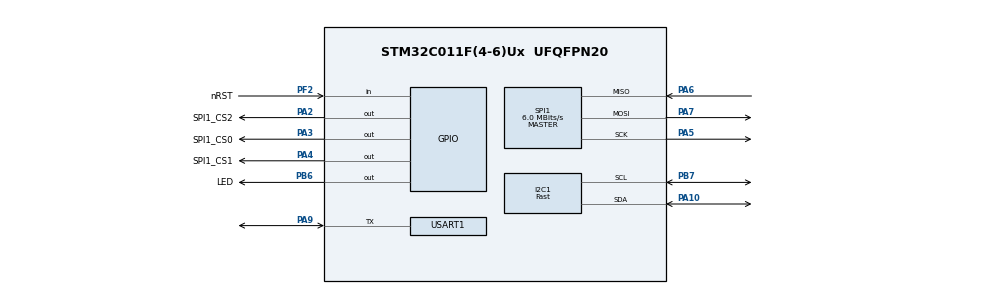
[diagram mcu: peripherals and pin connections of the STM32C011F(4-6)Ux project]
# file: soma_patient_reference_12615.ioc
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I2C1.I2C_Speed_Mode=I2C_Fast
I2C1.Timing=0x2010091A
Mcu.Family=STM32C0
Mcu.Name=STM32C011F(4-6)Ux
Mcu.Package=UFQFPN20
NVIC.SPI1_IRQn=true\:0\:0\:false\:false\:true\:true\:true\:true
NVIC.TIM17_IRQn=true\:0\:0\:false\:false\:true\:true\:true\:true
NVIC.TIM1_BRK_UP_TRG_COM_IRQn=true\:0\:0\:false\:false\:true\:true\:true\:true
NVIC.USART1_IRQn=true\:0\:0\:false\:false\:true\:true\:true\:true
PA10\ [PA12].GPIO_Pu=GPIO_PULLUP
PA10\ [PA12].Mode=I2C
PA10\ [PA12].Signal=I2C1_SDA
PA13.Mode=Serial_Wire
PA13.Signal=DEBUG_SWDIO
PA14-BOOT0.Mode=Serial_Wire
PA14-BOOT0.Signal=DEBUG_SWCLK
PA2.GPIO_Label=SPI1_CS2
PA2.GPIO_Speed=GPIO_SPEED_FREQ_VERY_HIGH
PA2.PinState=GPIO_PIN_SET
PA2.Signal=GPIO_Output
PA3.GPIO_Label=SPI1_CS0
PA3.GPIO_ModeDefaultOutputPP=GPIO_MODE_OUTPUT_PP
PA3.GPIO_PuPd=GPIO_NOPULL
PA3.GPIO_Speed=GPIO_SPEED_FREQ_VERY_HIGH
PA3.PinState=GPIO_PIN_SET
PA3.Signal=GPIO_Output
PA4.GPIO_Label=SPI1_CS1
PA4.GPIO_PuPd=GPIO_NOPULL
PA4.GPIO_Speed=GPIO_SPEED_FREQ_VERY_HIGH
PA4.PinState=GPIO_PIN_SET
PA4.Signal=GPIO_Output
PA5.GPIO_Speed=GPIO_SPEED_FREQ_VERY_HIGH
PA5.Mode=Full_Duplex_Master
PA5.Signal=SPI1_SCK
PA6.GPIO_Speed=GPIO_SPEED_FREQ_VERY_HIGH
PA6.Mode=Full_Duplex_Master
PA6.Signal=SPI1_MISO
PA7.GPIO_Speed=GPIO_SPEED_FREQ_VERY_HIGH
PA7.Mode=Full_Duplex_Master
PA7.Signal=SPI1_MOSI
PA9\ [PA11].GPIO_FMPA9=SYSCFG_FASTMODEPLUS_PA9
PA9\ [PA11].GPIO_PuPd=GPIO_NOPULL
PA9\ [PA11].GPIO_Speed=GPIO_SPEED_FREQ_HIGH
PA9\ [PA11].Mode=Half_duplex(single_wire_mode)
PA9\ [PA11].Signal=USART1_TX
PB6.GPIO_Label=LED
PB6.GPIO_Speed=GPIO_SPEED_FREQ_VERY_HIGH
PB6.PinState=GPIO_PIN_RESET
PB6.Signal=GPIO_Output
PB7.GPIO_Pu=GPIO_PULLUP
PB7.Mode=I2C
PB7.Signal=I2C1_SCL
PF2-NRST.GPIO_Label=nRST
PF2-NRST.Signal=GPIO_Input
ProjectManager.HeapSize=0x200
ProjectManager.StackSize=0x400
ProjectManager.TargetToolchain=MDK-ARM V5.32
RCC.ADCFreq_Value=48000000
RCC.AHBFreq_Value=48000000
RCC.CortexFreq_Value=48000000
RCC.EXTERNAL_CLOCK_VALUE=12288000
RCC.HCLKFreq_Value=48000000
RCC.HSE_VALUE=48000000
RCC.HSISYSCLKDivider=RCC_HSI_DIV1
RCC.HSI_VALUE=48000000
RCC.LSE_VALUE=32768
RCC.SYSCLKFreq_VALUE=48000000
SPI1.BaudRatePrescaler=SPI_BAUDRATEPRESCALER_8
SPI1.CalculateBaudRate=6.0 MBits/s
SPI1.Direction=SPI_DIRECTION_2LINES
SPI1.Mode=SPI_MODE_MASTER
SPI1.VirtualType=VM_MASTER
TIM1.Period=9
TIM1.Prescaler=4799
TIM17.Prescaler=47
USART1.BaudRate=1000000
USART1.VirtualMode-Half_duplex(single_wire_mode)=VM_ASYNC
VP_CRC_VS_CRC.Mode=CRC_Activate
VP_SYS_VS_PINREMAP.Mode=PINREMAP
VP_SYS_VS_PINREMAP_10_12.Mode=PINREMAP_10_12
VP_TIM17_VS_ClockSourceINT.Mode=Enable_Timer
VP_TIM1_VS_ClockSourceINT.Mode=Internal
board=STM32C0116-DK

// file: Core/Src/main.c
/* USER CODE BEGIN Header */
/**
  ******************************************************************************
  * @file           : main.c
  * @brief          : Main program body
  ******************************************************************************
  * @attention

  ******************************************************************************
  */
/* USER CODE END Header */
#include "main.h"
#include "crc.h"
#include "i2c.h"
#include "spi.h"
#include "tim.h"
#include "usart.h"
#include "gpio.h"

/* USER CODE BEGIN Includes */
#include <stdio.h>
#include "string.h"
#include "spi.h"

#include "stm32c0xx_hal_flash.h"

/* USER CODE END Includes */

/* USER CODE BEGIN PTD */

#define LOCALSLAVEADDR  1
uint8_t islaveaddrin=0;

uint8_t slavecmd[TXDATALEN]={0};

#define DATA_MMC0_POINT  5
#define DATA_MMC1_POINT  12
#define DATA_ICM0_POINT  19
#define DATA_TIME_POINT  31

uint32_t idataoff =0;
uint32_t irestlen =0;

#define PAGE_DATA_SIZE  256  //2048
uint32_t icrctempdata[PAGE_DATA_SIZE/4+1]={0};

uint8_t FLASHTEMPDATA[PAGE_DATA_SIZE]= {0};
uint32_t ialldatalen=0;
uint32_t istepdatalen=0;
uint8_t flg_haverest =0;

/* USER CODE END PTD */

/* USER CODE BEGIN PM */

uint32_t  immc0_ctrl_0=0;
uint32_t  immc1_ctrl_0=0;

//---MMC5983---

#define MMC5983_XOUT_REG            0x00
#define MMC5983_TOUT_REG            0x07
#define MMC5983_STATUS_REG          0x08
#define MMC5983_CONTROL0_REG        0x09
#define MMC5983_CONTROL1_REG        0x0A
#define MMC5983_CONTROL2_REG        0x0B
#define MMC5983_CONTROL3_REG        0x0C
#define MMC5983_PRODUCT_ID_REG      0x2F

#define MMC5983_PRODUCT_ID_RESULT   0x30

#define MMC5983_MYSTERY_REG 0x29
#define MMC5983_MYSTERY_TC_DISABLE 0x01
#define MMC5983_UNLOCK_REG 0x0F
#define MMC5983_UNLOCK_VAL 0xE1

//MEMSIC values
#define MMC5983_CONTROL0_MAG_MEAS   0x01
#define MMC5983_CONTROL0_TEMP_MEAS  0x02
#define MMC5983_CONTROL0_INT_EN     0x04
#define MMC5983_CONTROL0_SET        0x08
#define MMC5983_CONTROL0_RESET      0x10
#define MMC5983_CONTROL0_AUTOSREN   0x20   //add

#define MMC5983_CONTROL0_INIT       0x00
#define MMC5983_CONTROL0_START_TEMP_CMD  (MMC5983_CONTROL0_TEMP_MEAS | MMC5983_CONTROL0_RESET)
#define MMC5983_CONTROL0_START_CMD  (MMC5983_CONTROL0_MAG_MEAS)

#ifdef OMMO_SENSOR_MEMSIC_MMC5983_SET
  #define MMC5983_CONTROL0_SET_CMD    (MMC5983_CONTROL0_SET)
#else
  #define MMC5983_CONTROL0_SET_CMD    (MMC5983_CONTROL0_RESET) //RESET will invert the axis making them right handed
#endif

#define MMC5983_CONTROL1_CHIP_RESET 0x80
#define MMC5983_CONTROL1_BW_100     0x00
#define MMC5983_CONTROL1_BW_200     0x01
#define MMC5983_CONTROL1_BW_400     0x02
#define MMC5983_CONTROL1_BW_800     0x03
#define MMC5983_CONTROL1_INIT       MMC5983_CONTROL1_BW_8

#define MMC5983_CONTROL2_CM_FREQ_1000  0X07    //add
#define MMC5983_CONTROL2_CMM_EN        0X08    //add

//---ICM42605---
// Bank 0
#define ICM_DEVICE_ID                          0x42

#define ICM42605_DEVICE_CONFIG_REG             0x11
#define ICM42605_INT_CONFIG_REG                0x14
#define ICM42605_ACCEL_DATA_X1_REG             0x1F

#define ICM42605_INT_STATUS_REG                0x2D

#define ICM42605_PWR_MGMT0_REG                 0x4E
#define ICM42605_GYRO_CONFIG0_REG              0x4F
#define ICM42605_ACCEL_CONFIG0_REG             0x50
#define ICM42605_GYRO_CONFIG1_REG              0x51

#define ICM42605_INT_CONFIG1_REG               0x64
#define ICM42605_INT_SOURCE0_REG               0x65
#define ICM42605_WHO_AM_I_REG                  0x75

#define ICM42605_REG_BANK_SEL_REG              0x76

// Bank 4
#define ICM42605_APEX_CONFIG5_REG              0x44

/* USER CODE END PM */

/* USER CODE BEGIN PV */

//-------------flash-------------

#define ADDR_FLASH_PAGE_0     ((uint32_t)0x08000000) /* Base @ of Page 0, 2 Kbytes */
#define ADDR_FLASH_PAGE_1     ((uint32_t)0x08000800) /* Base @ of Page 1, 2 Kbytes */
#define ADDR_FLASH_PAGE_2     ((uint32_t)0x08001000) /* Base @ of Page 2, 2 Kbytes */
#define ADDR_FLASH_PAGE_3     ((uint32_t)0x08001800) /* Base @ of Page 3, 2 Kbytes */
#define ADDR_FLASH_PAGE_4     ((uint32_t)0x08002000) /* Base @ of Page 4, 2 Kbytes */
#define ADDR_FLASH_PAGE_5     ((uint32_t)0x08002800) /* Base @ of Page 5, 2 Kbytes */
#define ADDR_FLASH_PAGE_6     ((uint32_t)0x08003000) /* Base @ of Page 6, 2 Kbytes */
#define ADDR_FLASH_PAGE_7     ((uint32_t)0x08003800) /* Base @ of Page 7, 2 Kbytes */
#define ADDR_FLASH_PAGE_8     ((uint32_t)0x08004000) /* Base @ of Page 8, 2 Kbytes */
#define ADDR_FLASH_PAGE_9     ((uint32_t)0x08004800) /* Base @ of Page 9, 2 Kbytes */
#define ADDR_FLASH_PAGE_10    ((uint32_t)0x08005000) /* Base @ of Page 10, 2 Kbytes */
#define ADDR_FLASH_PAGE_11    ((uint32_t)0x08005800) /* Base @ of Page 11, 2 Kbytes */
#define ADDR_FLASH_PAGE_12    ((uint32_t)0x08006000) /* Base @ of Page 12, 2 Kbytes */
#define ADDR_FLASH_PAGE_13    ((uint32_t)0x08006800) /* Base @ of Page 13, 2 Kbytes */
#define ADDR_FLASH_PAGE_14    ((uint32_t)0x08007000) /* Base @ of Page 14, 2 Kbytes */
#define ADDR_FLASH_PAGE_15    ((uint32_t)0x08007800) /* Base @ of Page 15, 2 Kbytes */
#define ADDR_FLASH_PAGE_16    ((uint32_t)0x08008000)

//#define DATA_64                 ((uint64_t)0x12345678aa345678)

#define FLASH_BASE_ADDR          ((uint32_t)0x08000000)
#define FLASH_PAGESIZE           ((uint32_t)0x800)           //2K

#define FLASH_OFFSET_START_PAGE         6
#define FLASH_OFFSET_START_ADDR  ( (uint32_t)(FLASH_BASE_ADDR + FLASH_OFFSET_START_PAGE * FLASH_PAGESIZE) )  //3000

#define FLASH_BOOTFLAG_START_PAGE       14
#define FLASH_BOOTFLAG_START_ADDR  ( (uint32_t)(FLASH_BASE_ADDR + FLASH_BOOTFLAG_START_PAGE * FLASH_PAGESIZE) )  //7000

#define FLASH_EEPROM_START_PAGE         15
#define FLASH_EEPROM_START_ADDR    ( (uint32_t)(FLASH_BASE_ADDR + FLASH_EEPROM_START_PAGE * FLASH_PAGESIZE) )   //7800

#define MAX_EEPROMDATALEN   ( (16- FLASH_EEPROM_START_ADDR)*FLASH_PAGESIZE )   //1*0x800
#define MAX_BINFILEDATALEN   ( (FLASH_BOOTFLAG_START_PAGE- FLASH_OFFSET_START_PAGE)*FLASH_PAGESIZE )  //(14-6)*0x800

static FLASH_EraseInitTypeDef EraseInitStruct;
uint32_t iflashaddr = 0;
uint32_t PageError = 0;

#define DO_BOOTLOAD_FLG  0xaaaa5555

/* USER CODE END PV */

void SystemClock_Config(void);

/* USER CODE BEGIN 0 */

void delay_nop(uint32_t nCount)
{
   for(; nCount != 0; nCount--)
   {
      __NOP();
   }
}

void iputs1(char *msg)
{
   while(*msg)
   Send_Data_To_UART1(*msg++);
}

void iputbytes1(uint8_t *msg, uint32_t ilen)
{
   while(ilen--)
   Send_Data_To_UART1(*msg++);
}

void Send_Data_To_UART1 (uint8_t c)
{
   USART1->TDR = c;
   while( (USART1-> ISR & (1<<7) ) ==0 );
}

uint8_t get_checksum_8(uint8_t *ival, uint32_t inum)
{
   uint32_t i =0;
   uint8_t iret =0;
   uint16_t isum =0;

   for (i=0; i<inum; i++)
   {
      isum += ival[i];
   }

   iret = (uint8_t)(isum & 0xff);

   return iret;
}

uint8_t SPI_transfer(uint8_t data)
{
   // transmit
	LL_SPI_TransmitData8(MMC_SPI, data);
	while(!LL_SPI_IsActiveFlag_TXE(MMC_SPI));

   // receive
	while(!LL_SPI_IsActiveFlag_RXNE(MMC_SPI));
	return LL_SPI_ReceiveData8(MMC_SPI);

}

//---------------------mmc0 module---------------------------

uint8_t mmc0_read_byte(uint8_t addr)
{
   uint8_t value;

   LL_GPIO_ResetOutputPin((GPIO_TypeDef *)GPIOA, LL_GPIO_PIN_3);

   SPI_transfer(0x80|addr );
   value  = SPI_transfer(0x00);

   LL_GPIO_SetOutputPin((GPIO_TypeDef *)GPIOA, LL_GPIO_PIN_3);

   return value;
}

void mmc0_write_byte(uint8_t addr,  uint8_t value)
{

   LL_GPIO_ResetOutputPin((GPIO_TypeDef *)GPIOA, LL_GPIO_PIN_3);

   SPI_transfer(addr);
   SPI_transfer(value);

   LL_GPIO_SetOutputPin((GPIO_TypeDef *)GPIOA, LL_GPIO_PIN_3);

}

void mmc0_read_bytes(uint8_t addr ,uint8_t length ,uint8_t *buffer)
{
   for(int index = 0; index < length; index++)
   {
       buffer[index]  = mmc0_read_byte(addr+index);
   }

}

void mmc0_readfromspi( uint8_t iaddr, uint8_t ilen, uint8_t *idata)
{

   LL_GPIO_ResetOutputPin((GPIO_TypeDef *)GPIOA, LL_GPIO_PIN_3);

   SPI_transfer(0x80 |iaddr);

   while(ilen--)
   {
       *idata  = SPI_transfer(0x00);
       idata++;
   }

   LL_GPIO_SetOutputPin((GPIO_TypeDef *)GPIOA, LL_GPIO_PIN_3);

}

void mmc0_init(void)
{
   uint8_t ivalue=0;

   //check device id
   ivalue = mmc0_read_byte(MMC5983_PRODUCT_ID_REG);  //read id
   if(ivalue == MMC5983_PRODUCT_ID_RESULT)  //device id
   {
      //iputs1("mmc0 ok");
      //flg_mmc0_ready=1;

////      //unfrozen test
////      mmc0_write_byte(MMC5983_CONTROL0_REG,MMC5983_CONTROL0_AUTOSREN|MMC5983_CONTROL0_INT_EN);      //auto ser/reset, enable interrupt
////      mmc0_write_byte(MMC5983_CONTROL2_REG,MMC5983_CONTROL2_CM_FREQ_1000| MMC5983_CONTROL2_CMM_EN); //1000Hz, continuous mode
////      LL_mDelay(1);
////      mmc0_write_byte(MMC5983_CONTROL0_REG,MMC5983_CONTROL0_INIT);   //0
////      immc0_ctrl_0=MMC5983_CONTROL0_INIT;
////      mmc0_write_byte(MMC5983_CONTROL2_REG, 0x00);

      //reset
      mmc0_write_byte(MMC5983_CONTROL1_REG,MMC5983_CONTROL1_CHIP_RESET);  //reset
      LL_mDelay(20);

      //set control 0
      mmc0_write_byte(MMC5983_CONTROL0_REG,MMC5983_CONTROL0_INIT);   //0
      immc0_ctrl_0=MMC5983_CONTROL0_INIT;

      //set control 1
      mmc0_write_byte(MMC5983_CONTROL1_REG,MMC5983_CONTROL1_BW_800);    //800Hz

   }
   else
   {
       //flg_mmc0_ready=0;
       //iputs1("mmc0 err");
   }

}

void mmc0_read_data(uint8_t *sdata, uint8_t ilen)
{
   static uint32_t ireadcount = 0;

   //start sample
   //mmc0_write_byte(MMC5983_CONTROL0_REG, immc0_ctrl_0 & 0x7f);
   //mmc0_write_byte(MMC5983_CONTROL0_REG, MMC5983_CONTROL0_MAG_MEAS);    //sample

   //read data
   mmc0_readfromspi(MMC5983_XOUT_REG, ilen, sdata);

   //set/reset + Temp command
   if (ireadcount>=1000)
   {
      ireadcount =0;

      mmc0_write_byte(MMC5983_CONTROL0_REG, immc0_ctrl_0 & 0x7f);
      mmc0_write_byte(MMC5983_CONTROL0_REG, MMC5983_CONTROL0_TEMP_MEAS | MMC5983_CONTROL0_RESET );
      mmc0_write_byte(MMC5983_CONTROL1_REG, MMC5983_CONTROL1_BW_800);    //800Hz

   }
}

//---------------------mmc0 module----end-----------------------

//---------------------mmc1 module---------------------------

uint8_t mmc1_read_byte(uint8_t addr)
{
   uint8_t value;

   LL_GPIO_ResetOutputPin((GPIO_TypeDef *)GPIOA, LL_GPIO_PIN_4);

   SPI_transfer(0x80|addr );
   value  = SPI_transfer(0x00);

   LL_GPIO_SetOutputPin((GPIO_TypeDef *)GPIOA, LL_GPIO_PIN_4);

   return value;
}

void mmc1_write_byte(uint8_t addr,  uint8_t value)
{
   LL_GPIO_ResetOutputPin((GPIO_TypeDef *)GPIOA, LL_GPIO_PIN_4);

   SPI_transfer(addr);
   SPI_transfer(value);

   LL_GPIO_SetOutputPin((GPIO_TypeDef *)GPIOA, LL_GPIO_PIN_4);
}

void mmc1_read_bytes(uint8_t addr ,uint8_t length ,uint8_t *buffer)
{
   //read data
   for(int index = 0; index < length; index++)
   {
      buffer[index]  = mmc1_read_byte(addr+index);
   }

}

void mmc1_readfromspi( uint8_t iaddr, uint8_t ilen, uint8_t *idata)
{
   LL_GPIO_ResetOutputPin((GPIO_TypeDef *)GPIOA, LL_GPIO_PIN_4);

   SPI_transfer(0x80 |iaddr);

   while(ilen--)
   {
      *idata  = SPI_transfer(0x00);
      idata++;
   }

   LL_GPIO_SetOutputPin((GPIO_TypeDef *)GPIOA, LL_GPIO_PIN_4);
}

void mmc1_init(void)
{
   uint8_t ivalue=0;

   //check device id
   ivalue = mmc1_read_byte(MMC5983_PRODUCT_ID_REG);  //read id
   if(ivalue == MMC5983_PRODUCT_ID_RESULT)  //device id
   {
      //iputs1("mmc1 ok");
      //flg_mmc1_ready=1;

////      //unfrozen  test
////      mmc1_write_byte(MMC5983_CONTROL0_REG,MMC5983_CONTROL0_AUTOSREN|MMC5983_CONTROL0_INT_EN);      //auto ser/reset, enable interrupt
////      mmc1_write_byte(MMC5983_CONTROL2_REG,MMC5983_CONTROL2_CM_FREQ_1000| MMC5983_CONTROL2_CMM_EN); //1000Hz, continuous mode
////      LL_mDelay(1);
////      mmc1_write_byte(MMC5983_CONTROL0_REG,MMC5983_CONTROL0_INIT);   //0
////      immc1_ctrl_0=MMC5983_CONTROL0_INIT;
////      mmc1_write_byte(MMC5983_CONTROL2_REG,0x00);

      //reset
      mmc1_write_byte(MMC5983_CONTROL1_REG,MMC5983_CONTROL1_CHIP_RESET);  //reset
      LL_mDelay(20);

      //set control 0
      mmc1_write_byte(MMC5983_CONTROL0_REG,MMC5983_CONTROL0_INIT);   //0
      immc1_ctrl_0	= MMC5983_CONTROL0_INIT;

      //set control 1
      mmc1_write_byte(MMC5983_CONTROL1_REG,MMC5983_CONTROL1_BW_800);    //800Hz

   }
   else
   {
      //flg_mmc1_ready=0;
      //iputs1("mmc1 err");
   }

}

void mmc1_read_data(uint8_t *sdata, uint8_t ilen)
{
   static uint32_t ireadcount = 0;

   //start sample
   //mmc1_write_byte(MMC5983_CONTROL0_REG, immc1_ctrl_0 & 0x7f);
   //mmc1_write_byte(MMC5983_CONTROL0_REG, MMC5983_CONTROL0_MAG_MEAS);    //sample

   //read data
   mmc1_readfromspi(MMC5983_XOUT_REG, ilen, sdata);

   //set/reset + Temp command
   if (ireadcount>=1000)
   {
      ireadcount =0;
      mmc1_write_byte(MMC5983_CONTROL0_REG, immc1_ctrl_0 & 0x7f);
      mmc1_write_byte(MMC5983_CONTROL0_REG, MMC5983_CONTROL0_TEMP_MEAS | MMC5983_CONTROL0_RESET );
      mmc1_write_byte(MMC5983_CONTROL1_REG, MMC5983_CONTROL1_BW_800);    //800Hz
   }

}

//---------------------mmc1 module----end-----------------------

//---------------------icm0 module---------------------------

uint8_t icm0_read_byte(uint8_t addr)
{
   uint8_t value;

   LL_GPIO_ResetOutputPin((GPIO_TypeDef *)GPIOA, LL_GPIO_PIN_2);

   SPI_transfer(0x80|addr );
   value  = SPI_transfer(0x00);

   LL_GPIO_SetOutputPin((GPIO_TypeDef *)GPIOA, LL_GPIO_PIN_2);

   return value;
}

void icm0_write_byte(uint8_t addr,  uint8_t value)
{
   LL_GPIO_ResetOutputPin((GPIO_TypeDef *)GPIOA, LL_GPIO_PIN_2);

   SPI_transfer(addr);
   SPI_transfer(value);

   LL_GPIO_SetOutputPin((GPIO_TypeDef *)GPIOA, LL_GPIO_PIN_2);
}

void icm0_read_bytes(uint8_t addr ,uint8_t length ,uint8_t *buffer)
{
   //read data
   for(int index = 0; index < length; index++)
   {
      buffer[index]  = icm0_read_byte(addr+index);
   }

}

void icm0_readfromspi( uint8_t iaddr, uint8_t ilen, uint8_t *idata)
{
   LL_GPIO_ResetOutputPin((GPIO_TypeDef *)GPIOA, LL_GPIO_PIN_2);

   SPI_transfer(0x80 |iaddr);

   while(ilen--)
   {
      *idata  = SPI_transfer(0x00);
      idata++;
   }

   LL_GPIO_SetOutputPin((GPIO_TypeDef *)GPIOA, LL_GPIO_PIN_2);
}

void icm0_init(void)
{
   uint8_t ivalue=0;

   icm0_write_byte( ICM42605_REG_BANK_SEL_REG, 0x00);    // set bank0

   //check device id
   ivalue =icm0_read_byte(ICM42605_WHO_AM_I_REG);     //read device id
   if(ivalue == ICM_DEVICE_ID)
   {
      //flg_icm0_ready=1;
      //iputs1("icm0 ok");

      icm0_write_byte(ICM42605_DEVICE_CONFIG_REG, 0x01 );     //reset
      LL_mDelay(100);

      icm0_write_byte(ICM42605_PWR_MGMT0_REG, 0x0f);     // set GYRO and ACC in LN mode
      LL_mDelay(1);

      icm0_write_byte( ICM42605_GYRO_CONFIG0_REG, 0x06 | (3 << 5) );  //GYRO ODR 1KHz,GYRO FS 250dps
      icm0_write_byte(ICM42605_ACCEL_CONFIG0_REG, 0x06 | (3 << 5) );   //ACC ODR 1kHz, ACC FS  2g
      icm0_write_byte( ICM42605_GYRO_CONFIG1_REG, 0xD6);              //DLPF BW=5Hz; DLPF Latency=32ms, GYRO UI 2nd Order , DEC2 M2 3nd Order
      icm0_write_byte( ICM42605_INT_CONFIG_REG, 0x03);    //INT1  Push pull, Active high
      icm0_write_byte( ICM42605_INT_CONFIG1_REG, 0x00);    //proper INT1 and INT2 pin operation
      icm0_write_byte(ICM42605_INT_SOURCE0_REG, 0x09);     //UI data ready interrupt routed to INT1, UI AGC ready interrupt routed to INT1

      icm0_write_byte( ICM42605_REG_BANK_SEL_REG, 0x04);    //set bank 4
      icm0_write_byte( ICM42605_INT_SOURCE0_REG, 0x8F);    //Defines mounting matrix, chip to device frame
      icm0_write_byte( ICM42605_REG_BANK_SEL_REG, 0x00);    //set bank0

      ivalue=icm0_read_byte(0x2d);     //INT STATUS
   }
   else
   {
      //flg_icm0_ready=0;
      //iputs1("icm0 err");
   }

}

void icm0_read_data(uint8_t *sdata, uint8_t ilen)
{
   //--uint8_t ivalue=0;

   icm0_write_byte( 0x76, 0x00);    // set bank0
   //--ivalue=icm0_read_byte(0x2d);      //INT STATUS

   icm0_readfromspi(0x1f, ilen, sdata);
}

//---------------------icm0 module----end-----------------------

void uartsendcmd(uint8_t *scmd, uint32_t ilen)
{
   //switch to tx
   delay_nop(WAIT2TE_SLAVE); //delay_nop(WAIT2TE_MASTER);
   switch2send(USART1);

   //iputbytes1((uint8_t *)scmd,ilen);
   iputbytes1(scmd,ilen);

   //switch to rx
   delay_nop(WAIT2RE_SLAVE);  //delay_nop(WAIT2RE0_MASTER);
   switch2read(USART1);
}

////void savetoflash(void)
////{
//////   uint32_t icrc=0;
//////   uint32_t icrclen=0;
//////   uint32_t icrcin=0;
////   uint8_t flg_flasherr=0;

////   //---------------  erease the flash -----------------

////   HAL_FLASH_Unlock();

////   __HAL_FLASH_CLEAR_FLAG(FLASH_FLAG_OPTVERR);

////   EraseInitStruct.TypeErase   = FLASH_TYPEERASE_PAGES;
////   EraseInitStruct.Page        = FLASH_EEPROM_START_PAGE;          //15, 0800 7800
////   EraseInitStruct.NbPages     = 1;                         //1 x 800

////   if (HAL_FLASHEx_Erase(&EraseInitStruct, &PageError) != HAL_OK)
////   {
////      flg_flasherr=1;
////   }

////   //---------------  write buf to flash -----------------

////   iflashaddr = FLASH_EEPROM_START_ADDR;   //0800 7800

////   for(uint32_t i=0; i<ialldatalen; i+=8)
////   {
////      if (HAL_FLASH_Program(FLASH_TYPEPROGRAM_DOUBLEWORD, iflashaddr, *(uint64_t*)(&FLASHTEMPDATA[i]) ) == HAL_OK)
////      {
////         iflashaddr += 8;  //move 8 bytes
////      }
////      else
////      {
////         flg_flasherr=1;
////      }
////   }

////   HAL_FLASH_Lock();
////

////   if(flg_flasherr==1)
////   {
////      flg_flasherr=0;
////      uartsendcmd( (uint8_t*)"flash err\r\n", 8);
////   }
////
////}

void dowithuart(void)
{
   uint16_t itimnum=0;
   uint32_t ipackdatalen=0;
//   uint8_t stest[20]={0};
   uint32_t icrc=0;
   uint32_t icrclen=0;
   uint32_t icrcin=0;
   static uint32_t icrcstep=0;

   switch (irxdata2[3])   //command
   {
      case 0x61:   //bootload command

         //set bootload flag

         // ------------- write flash -----------------

         //erease flash
         HAL_FLASH_Unlock();

         __HAL_FLASH_CLEAR_FLAG(FLASH_FLAG_OPTVERR);

         EraseInitStruct.TypeErase   = FLASH_TYPEERASE_PAGES;
         EraseInitStruct.Page        = FLASH_BOOTFLAG_START_PAGE;     // 14
         EraseInitStruct.NbPages     = 1;                             // 1 x 800

         if (HAL_FLASHEx_Erase(&EraseInitStruct, &PageError) != HAL_OK)
         {
            ;//uartsendcmd( (uint8_t*)"erase flash err\r\n", 17);
         }

         //write flash
         if (HAL_FLASH_Program(FLASH_TYPEPROGRAM_DOUBLEWORD, FLASH_BOOTFLAG_START_ADDR, 0xffffffff00000000+DO_BOOTLOAD_FLG ) != HAL_OK)
         {
            ;//uartsendcmd( (uint8_t*)"write flash err\r\n", 17);
         }

         //read flash
         //idata32 = *(__IO uint32_t *)(0x8007000);
         //uartsendcmd( (uint8_t*)(&idata32), 4);

         HAL_FLASH_Lock();

         //soft reser
         __set_PRIMASK(1);
         software_reset();

         break;

      case 0xA1:

         readsensor();

         slavecmd[0]=CMDHEADER1;    //0xAA;
         slavecmd[1]=CMDHEADER2;    //0x55;
         slavecmd[2]=0x1F;
         slavecmd[3]=0xB1;
         slavecmd[4]=LOCALSLAVEADDR;

         itimnum = LL_TIM_GetCounter(TIM17);
         slavecmd[ DATA_TIME_POINT] = (uint8_t)(itimnum & 0xff);
         slavecmd[ DATA_TIME_POINT+1] = (uint8_t)( (itimnum>>8) & 0xff );

         slavecmd[33]=get_checksum_8(slavecmd,33);
         uartsendcmd(slavecmd,34);

         break;

      case 0xC1:

            // erease the flash
            HAL_FLASH_Unlock();

            __HAL_FLASH_CLEAR_FLAG(FLASH_FLAG_OPTVERR);

            EraseInitStruct.TypeErase   = FLASH_TYPEERASE_PAGES;
            EraseInitStruct.Page        = FLASH_EEPROM_START_PAGE;          //15,        //7800
            EraseInitStruct.NbPages     = 1;                         //1 x 800

            if (HAL_FLASHEx_Erase(&EraseInitStruct, &PageError) != HAL_OK)
            {
               uartsendcmd( (uint8_t*)"erase flash err\r\n", 17);
            }
            HAL_FLASH_Lock();

            //response command D1
            slavecmd[0]=CMDHEADER1;     //0xAA;
            slavecmd[1]=CMDHEADER2;     //0x55;
            slavecmd[2]=0x03;           //len
            slavecmd[3]=0xD1;           //command
            slavecmd[4]=LOCALSLAVEADDR;   //local addr
            slavecmd[5]=get_checksum_8(slavecmd,5);
            uartsendcmd(slavecmd,6);

            iflashaddr = FLASH_EEPROM_START_ADDR;   //7800
            idataoff =0;
            istepdatalen=0;
            icrcstep=LL_CRC_DEFAULT_CRC_INITVALUE;
            ialldatalen=0;
            flg_haverest=0;

            break;

      case 0xC2:

            ipackdatalen=irxdata2[2]-3;

            if( (ialldatalen+ipackdatalen) > MAX_EEPROMDATALEN)
            {
               uartsendcmd( (uint8_t*)"max data err\r\n", 14);
               break;
            }

            if( (idataoff+ipackdatalen) > PAGE_DATA_SIZE)
            {
               uartsendcmd( (uint8_t*)"data err\r\n", 10);
               break;
            }

            //copy to array
            for( uint32_t i=0; i<ipackdatalen; i++)
            {
               FLASHTEMPDATA[idataoff+i]=irxdata2[5+i];
            }

            idataoff += ipackdatalen;

            //------------------save to flash--------------------

            if( idataoff == PAGE_DATA_SIZE)
            {
               flg_haverest=0;

               //make step crc
               istepdatalen=idataoff;
               icrclen=byte2uint32( (uint8_t *)FLASHTEMPDATA,icrctempdata,istepdatalen);

               //icrc = stm32_crc32(icrctempdata, icrclen);
               icrc = stm32_crc32ex(icrctempdata, icrclen, icrcstep);

               HAL_FLASH_Unlock();

               for(uint32_t i=0; i<istepdatalen; i+=8)
               {
                  if (HAL_FLASH_Program(FLASH_TYPEPROGRAM_DOUBLEWORD, iflashaddr, *(uint64_t*)(&FLASHTEMPDATA[i]) ) == HAL_OK)
                  {
                     iflashaddr += 8;  //move 8 bytes
                  }
                  else
                  {
                     uartsendcmd( (uint8_t*)"save flash err\r\n", 16);
                  }
               }

               HAL_FLASH_Lock();

               icrcstep=icrc;
               ialldatalen+=istepdatalen;  //idataoff
               idataoff=0;
            }
            else
            {
               flg_haverest =1;
            }

            //------------------save to flash-----end---------------

            //response command D2
            slavecmd[0]=CMDHEADER1;  //0xAA;
            slavecmd[1]=CMDHEADER2;  //0x55;
            slavecmd[2]=0x03;
            slavecmd[3]=0xD2;
            slavecmd[4]=LOCALSLAVEADDR;
            slavecmd[5]=get_checksum_8(slavecmd,5);
            uartsendcmd(slavecmd,6);

            break;

      case 0xC3:

            //------------------save to flash--------------------

            //if( idataoff < PAGE_DATA_SIZE)
            if( flg_haverest==1)
            {
               uint8_t iremainder=0;

               flg_haverest=0;

               iremainder= idataoff % 8;
               if(iremainder!=0)
                   memset(FLASHTEMPDATA+idataoff,0xff,8-iremainder);

               //make step crc
               istepdatalen=idataoff;
               icrclen=byte2uint32( (uint8_t *)FLASHTEMPDATA,icrctempdata,istepdatalen);

               //icrc = stm32_crc32(icrctempdata, icrclen);
               icrc = stm32_crc32ex(icrctempdata, icrclen, icrcstep);

               HAL_FLASH_Unlock();

               for(uint32_t i=0; i<istepdatalen; i+=8)
               {
                  if (HAL_FLASH_Program(FLASH_TYPEPROGRAM_DOUBLEWORD, iflashaddr, *(uint64_t*)(&FLASHTEMPDATA[i]) ) == HAL_OK)
                  {
                     iflashaddr += 8;  //move 8 bytes
                  }
                  else
                  {
                     uartsendcmd( (uint8_t*)"save flash err\r\n", 8);
                  }
               }

               HAL_FLASH_Lock();

               icrcstep=icrc;
               ialldatalen+=istepdatalen;  //idataoff
               idataoff=0;
            }
            //------------------save to flash-----end---------------

            //check crc
            icrcin+=(uint32_t)(irxdata2[5]<<24);
            icrcin+=(uint32_t)(irxdata2[6]<<16);
            icrcin+=(uint32_t)(irxdata2[7]<<8);
            icrcin+=(uint32_t)(irxdata2[8]);

            if(icrcstep==icrcin)
            {
               slavecmd[0]=CMDHEADER1;  //0xAA;
               slavecmd[1]=CMDHEADER2;  //0x55;
               slavecmd[2]=0x03;
               slavecmd[3]=0xD3;
               slavecmd[4]=LOCALSLAVEADDR;
               slavecmd[5]=get_checksum_8(slavecmd,5);
               uartsendcmd(slavecmd,6);
            }
            else
            {
               slavecmd[0]=CMDHEADER1;  //0xAA;
               slavecmd[1]=CMDHEADER2;  //0x55;
               slavecmd[2]=0x03;
               slavecmd[3]=0xE3;
               slavecmd[4]=LOCALSLAVEADDR;
               slavecmd[5]=get_checksum_8(slavecmd,5);
               uartsendcmd(slavecmd,6);

               break;
            }

////--test
//uartsendcmd( (uint8_t*)(&ialldatalen), 4);

            //-------------------read out the flash data -------------------

            memset(FLASHTEMPDATA,0,PAGE_DATA_SIZE);
            iflashaddr = FLASH_EEPROM_START_ADDR;        //0800 3000
            icrcstep=LL_CRC_DEFAULT_CRC_INITVALUE;

            uint32_t ialldatalen2=0;
            ialldatalen2=ialldatalen;
            while( ialldatalen2>0 )
            {

               if(ialldatalen2 >= PAGE_DATA_SIZE)
                  istepdatalen = PAGE_DATA_SIZE;
               else
                  istepdatalen = ialldatalen2;

               for(uint32_t j=0; j<istepdatalen; j+=4)
                  *(__IO uint32_t *)( &FLASHTEMPDATA[j] ) = *(__IO uint32_t *)(iflashaddr+j);

               //make step crc
               icrclen=byte2uint32( (uint8_t *)FLASHTEMPDATA,icrctempdata,istepdatalen);

               //icrc = stm32_crc32(icrctempdata, icrclen);
               icrc = stm32_crc32ex(icrctempdata, icrclen, icrcstep);

               //uartsendcmd( FLASHTEMPDATA, istepdatalen);       //--test log

               //ipage++;
               icrcstep=icrc;
               ialldatalen2 -= istepdatalen;
               iflashaddr += istepdatalen;
               istepdatalen = 0;

            }

            if(icrc!=icrcin)
                uartsendcmd( (uint8_t*)"crc err\r\n", 9);

            //-------------------read out the flash data ---end----------------

//---test log ---

////delay_nop(WAIT2TE_SLAVE);
////switch2send(USART1);
////Send_Data_To_UART1(icrc>>24);
////Send_Data_To_UART1(icrc>>16);
////Send_Data_To_UART1(icrc>>8);
////Send_Data_To_UART1(icrc>>0);
////delay_nop(WAIT2RE_SLAVE);
////switch2read(USART1);
//////uartsendcmd( (uint8_t*)(&icrc), 4);

//////run new firmware
////LL_mDelay(15000);
////USART1->CR1 |=(1<<2);
////USART1->CR1 |=(1<<3);
////LL_mDelay(200);
////iap_load_app(FLASH_EEPROM_START_ADDR);

            break;

      default:
            break;
   }

}

void mmc0_mmc1_start_sample(void)
{
   //start mmc0 mmc1 sample
   LL_GPIO_ResetOutputPin((GPIO_TypeDef *)GPIOA, LL_GPIO_PIN_3);  //mmc0
   LL_GPIO_ResetOutputPin((GPIO_TypeDef *)GPIOA, LL_GPIO_PIN_4);  //mmc1

//   SPI_transfer(MMC5983_CONTROL0_REG);
//   SPI_transfer(MMC5983_CONTROL0_INIT & 0x7f);

//   LL_GPIO_SetOutputPin((GPIO_TypeDef *)GPIOA, LL_GPIO_PIN_3);  //mmc0
//   LL_GPIO_SetOutputPin((GPIO_TypeDef *)GPIOA, LL_GPIO_PIN_4);  //mmc1
//
//   //start measure
//   LL_GPIO_ResetOutputPin((GPIO_TypeDef *)GPIOA, LL_GPIO_PIN_3);  //mmc0
//   LL_GPIO_ResetOutputPin((GPIO_TypeDef *)GPIOA, LL_GPIO_PIN_4);  //mmc1

   SPI_transfer(MMC5983_CONTROL0_REG);
   SPI_transfer(MMC5983_CONTROL0_MAG_MEAS);

   LL_GPIO_SetOutputPin((GPIO_TypeDef *)GPIOA, LL_GPIO_PIN_3);  //mmc0
   LL_GPIO_SetOutputPin((GPIO_TypeDef *)GPIOA, LL_GPIO_PIN_4);  //mmc1

}

void readsensor(void)
{
   memset(slavecmd,0,28);

   mmc0_mmc1_start_sample();

   mmc0_read_data(slavecmd+DATA_MMC0_POINT,7);
   mmc1_read_data(slavecmd+DATA_MMC1_POINT,7);

   icm0_read_data(slavecmd+DATA_ICM0_POINT,12);
}

uint32_t byte2uint32(uint8_t *strin, uint32_t *strout, uint32_t ilen)
{

   uint32_t i = 0;
   uint32_t iret = 0;

   //get crc adder
   for ( i=0; i<(ilen/4); i++)
   {
      strout[i] = (uint32_t)((strin[4*i] << 24) | (strin[4*i+1] << 16) | (strin[4*i+ 2] << 8) | strin[4*i+3]);
   }

   //last word
   if ( (ilen%4) == 3)
      strout[i] = (uint32_t)((strin[4*i] << 24) | (strin[4*i+1] << 16) | (strin[4*i+ 2] << 8) );
   if ( (ilen%4) == 2)
      strout[i] = (uint32_t)((strin[4*i] << 24) | (strin[4*i+1] << 16) );
   if ( (ilen%4) == 1)
      strout[i] = (uint32_t)((strin[4*i] << 24) );

   //get crc len
   if( (ilen%4) ==0)
      iret =  ilen/4;
   else
      iret = ilen/4 +1;

   return iret;
}

uint32_t calcu_crc32(uint32_t *idatain, uint32_t len)
{
   uint32_t icrc_poly = 0x04C11DB7;
   uint32_t icrc_out = 0xffffffff;

   for(uint32_t i = 0; i < len; i++)
   {
      icrc_out ^= idatain[i];

      for (uint8_t j = 0; j < 32; j++)
      {
         if (icrc_out & 0x80000000)
            icrc_out = (icrc_out << 1) ^ icrc_poly;
         else
            icrc_out <<= 1;
      }
   }

   return (icrc_out);
}

uint32_t calcu_crc32ex(uint32_t *idatain, uint32_t len, uint32_t icrc_in)
{
   uint32_t icrc_poly = 0x04C11DB7;
   uint32_t icrc_out = icrc_in;

   for(uint32_t i = 0; i < len; i++)
   {
      icrc_out ^= idatain[i];

      //Send_Data_To_UART1(i);  //test

      for (uint8_t j = 0; j < 32; j++)
      {
         if (icrc_out & 0x80000000)
            icrc_out = (icrc_out << 1) ^ icrc_poly;
         else
            icrc_out <<= 1;
      }
   }

   return (icrc_out);
}

uint32_t stm32_crc32(uint32_t *idatain, uint32_t len)
{
//   register uint32_t data = 0;
//   register uint32_t index = 0;

   LL_CRC_SetInitialData(CRC, LL_CRC_DEFAULT_CRC_INITVALUE);

   for(uint32_t i = 0; i < len; i++)
   {
      LL_CRC_FeedData32(CRC,  idatain[i]);
   }

   return (LL_CRC_ReadData32(CRC));
}

uint32_t stm32_crc32ex(uint32_t *idatain, uint32_t len, uint32_t icrc_in)
{
//   register uint32_t data = 0;
//   register uint32_t index = 0;

   LL_CRC_SetInitialData(CRC, icrc_in);

   for(uint32_t i = 0; i < len; i++)
   {
      LL_CRC_FeedData32(CRC,  idatain[i]);
   }

   return (LL_CRC_ReadData32(CRC));
}

//---------------------bootload ---------------------------

typedef void (*iapfun)(void);
iapfun jump2app;

void MSR_MSP(uint32_t addr)
{
   __ASM("MSR MSP, r0");
   __ASM(" BX r14");

//   __ASM("msr msp, r0");
//   __ASM("bx lr");
}

void iap_load_app(uint32_t appxaddr)
{
   if(((*(__IO uint32_t*)appxaddr)&0x2FFE0000)==0x20000000)
   {
      jump2app=(iapfun)*(__IO uint32_t*)(appxaddr+4);
      //MSR_MSP(*(__IO uint32_t*)appxaddr);
      jump2app();

   }
}

//---------------------bootload ----end-----------------------

void software_reset(void)
{
   NVIC_SystemReset();
}

uint8_t i2c_writereg(uint16_t idevaddr, uint8_t ireg,uint8_t data)
{
   if((HAL_I2C_Mem_Write(&hi2c1,idevaddr,ireg,I2C_MEMADD_SIZE_8BIT,&data,1,1000)) == HAL_OK)
   {
      return 0;
   }
   else
   {
      return 1;
   }
}

uint8_t i2c_readreg(uint16_t idevaddr,uint8_t ireg)
{
   uint8_t res;
   HAL_I2C_Mem_Read(&hi2c1,idevaddr,ireg,I2C_MEMADD_SIZE_8BIT,&res,1,1000);
   return res;
}

uint8_t i2c_writebytes(uint16_t idevaddr, uint8_t ireg, uint8_t *sbuf,uint16_t ilen)
{
   if((HAL_I2C_Mem_Write(&hi2c1,idevaddr,ireg,I2C_MEMADD_SIZE_8BIT,sbuf,ilen,1000)) == HAL_OK)
   {
      return 0;
   }
   else
   {
      return 1;
   }
}

uint8_t i2c_readbytes(uint16_t idevaddr,uint8_t ireg,uint8_t *sbuf,uint16_t ilen)
{
   if((HAL_I2C_Mem_Read(&hi2c1,idevaddr,ireg,I2C_MEMADD_SIZE_8BIT,sbuf,ilen,1000)) == HAL_OK)
   {
      return 0;
   }
   else
   {
      return 1;
   }
}

/* USER CODE END 0 */

int main(void)
{
  /* USER CODE BEGIN 1 */

   //SCB->VTOR = FLASH_BASE_ADDR + FLASH_OFFSET_START_PAGE * FLASH_PAGESIZE;    //VECT_TAB_OFFSET

  /* USER CODE END 1 */

  /* MCU Configuration--------------------------------------------------------*/

  /* Reset of all peripherals, Initializes the Flash interface and the Systick. */
  HAL_Init();

  /* Configure the system clock */
  SystemClock_Config();

  /* Initialize all configured peripherals */
  MX_GPIO_Init();
  MX_USART1_UART_Init();
  MX_TIM1_Init();
  MX_SPI1_Init();
  MX_TIM17_Init();
  MX_CRC_Init();
  MX_I2C1_Init();
  /* USER CODE BEGIN 2 */

   //LL_RCC_ConfigMCO(LL_RCC_MCO1SOURCE_SYSCLK, LL_RCC_MCO1_DIV_4);   //12Mhz = 48Mhz/4

   LL_mDelay(10);  //20
   uartsendcmd( (uint8_t*)"start",5);     //start

   LL_SPI_Enable(SPI1);

   //sensor init
   mmc0_init();
   mmc1_init();
   icm0_init();

  /* USER CODE END 2 */

  /* Infinite loop */
  while (1)
  {

    /* USER CODE BEGIN 3 */
////
//////-------------test 24c02 onebyte----------------------
////
//////uartsendcmd((uint8_t*)"run\r\n",5);
////
////uint8_t itemp=0;
////uint32_t idelay=50000;
////
////i2c_writereg( 0xA0,0x03,6);
////delay_nop(idelay);
////itemp=i2c_readreg( 0xA0,0x03);
////
//////Send_Data_To_UART1(itemp);
////uartsendcmd( (uint8_t*)&itemp,1);
////
////i2c_writereg( 0xA0,0x03,8);
////delay_nop(idelay);
////itemp=i2c_readreg( 0xA0,0x03);
////uartsendcmd( (uint8_t*)&itemp,1);
////
//////-------------test 24c02 onebyte----end------------------

//-------------test 24c02 towbyte----------------------

//uartsendcmd((uint8_t*)"run\r\n",5);

uint8_t sout[2]={0};
uint8_t sin[2]={0};
uint32_t idelay=500000;

//1st
sout[0]=6; sout[1]=6;
i2c_writebytes( 0xA0,0x03,sout,2);
delay_nop(idelay);

sin[0]=0; sin[1]=0;
i2c_readbytes( 0xA0,0x03,sin,2);
uartsendcmd( sin,2);

//2nd
sout[0]=8; sout[1]=8;
i2c_writebytes( 0xA0,0x03,sout,2);
delay_nop(idelay);

sin[0]=0; sin[1]=0;
i2c_readbytes( 0xA0,0x03,sin,2);
uartsendcmd( sin,2);

//-------------test 24c02 twobyte----end------------------

LL_mDelay(1000);

  }

   while (1)
   {
      static uint32_t iuart_rxledcount=0;
      static uint32_t isensorcount=0;
      static uint32_t iresetcount=0;
      uint8_t ichecksum=0;

    /* USER CODE END WHILE */

    /* USER CODE BEGIN 3 */

      if(flg_timer1==1)
      {
         flg_timer1=0;

         iuart_rxledcount++;
         isensorcount++;

         iresetcount++;
      }

      //uart rx
      if (flg_rx==1)
      {
         flg_rx=0;
         //uartsendcmd( (uint8_t*)"rx in\r\n",7);

         islaveaddrin=irxdata2[4];

         //checksum
         ichecksum = get_checksum_8((uint8_t *)irxdata2,irxcount2-1);

         if(ichecksum == irxdata2[irxcount2-1])
            if(islaveaddrin==LOCALSLAVEADDR)
               dowithuart();

      }

////      //read sensor data
////      if(isensorcount>=1)   //1* 1ms =1ms
////      {
////         isensorcount=0;
////         //readsensor();
////      }

      //test softreset
      if(isensorcount>=10000)
      {
         isensorcount=0;
         //readsensor();

      }

      if(iresetcount>=1000)
      {
         iresetcount=0;

         //do control0 reset
         mmc0_write_byte(MMC5983_CONTROL0_REG, MMC5983_CONTROL0_RESET );
         mmc1_write_byte(MMC5983_CONTROL0_REG, MMC5983_CONTROL0_RESET );
      }

		if( iuart_rxledcount >=1000)
		{
			 iuart_rxledcount=0;
			 LL_GPIO_TogglePin( LED_GPIO_Port, LED_Pin);
		}

  }

  /* USER CODE END 3 */
}

void SystemClock_Config(void)
{

  LL_FLASH_SetLatency(LL_FLASH_LATENCY_1);

  /* HSI configuration and activation */
  LL_RCC_HSI_Enable();
  while(LL_RCC_HSI_IsReady() != 1)
  {
  }

  LL_RCC_HSI_SetCalibTrimming(64);
  LL_RCC_SetHSIDiv(LL_RCC_HSI_DIV_1);
  /* Set AHB prescaler*/
  LL_RCC_SetAHBPrescaler(LL_RCC_HCLK_DIV_1);

  /* Sysclk activation on the HSI */
  LL_RCC_SetSysClkSource(LL_RCC_SYS_CLKSOURCE_HSI);
  while(LL_RCC_GetSysClkSource() != LL_RCC_SYS_CLKSOURCE_STATUS_HSI)
  {
  }

  /* Set APB1 prescaler*/
  LL_RCC_SetAPB1Prescaler(LL_RCC_APB1_DIV_1);
  /* Update CMSIS variable (which can be updated also through SystemCoreClockUpdate function) */
  LL_SetSystemCoreClock(48000000);

   /* Update the time base */
  if (HAL_InitTick (TICK_INT_PRIORITY) != HAL_OK)
  {
    Error_Handler();
  }
}

void Error_Handler(void)
{
   __disable_irq();
   while (1)
   {
   }
}
